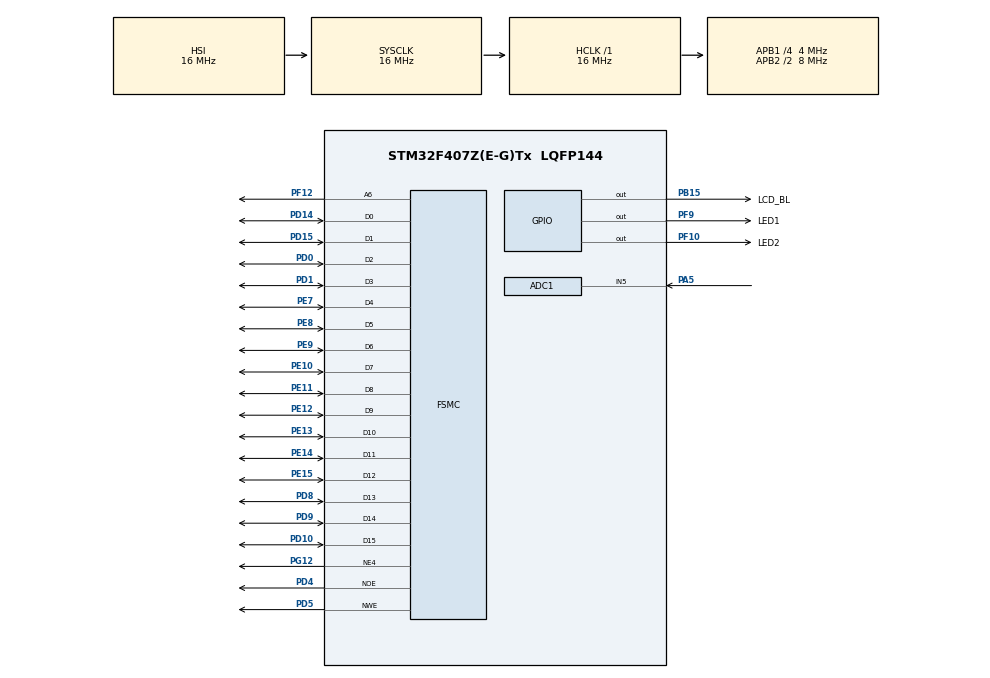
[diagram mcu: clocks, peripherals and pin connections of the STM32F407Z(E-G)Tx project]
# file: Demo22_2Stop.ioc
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ADC1.Channel-0\#ChannelRegularConversion=ADC_CHANNEL_5
ADC1.NbrOfConversionFlag=1
ADC1.Rank-0\#ChannelRegularConversion=1
ADC1.SamplingTime-0\#ChannelRegularConversion=ADC_SAMPLETIME_28CYCLES
ADC1.master=1
FSMC.AddressSetupTime4=2
FSMC.BusTurnAroundDuration4=0
FSMC.DataSetupTime4=16
FSMC.ExtendedAddressSetupTime4=4
FSMC.ExtendedBusTurnAroundDuration4=0
FSMC.ExtendedDataSetupTime4=9
FSMC.ExtendedMode4=FSMC_EXTENDED_MODE_ENABLE
Mcu.Family=STM32F4
Mcu.Name=STM32F407Z(E-G)Tx
Mcu.Package=LQFP144
NVIC.PriorityGroup=NVIC_PRIORITYGROUP_4
NVIC.RTC_WKUP_IRQn=true\:1\:0\:true\:false\:true\:true\:true\:true
PA13.Mode=Serial_Wire
PA13.Signal=SYS_JTMS-SWDIO
PA14.Mode=Serial_Wire
PA14.Signal=SYS_JTCK-SWCLK
PA5.Signal=ADCx_IN5
PB15.GPIO_Label=LCD_BL
PB15.PinState=GPIO_PIN_RESET
PB15.Signal=GPIO_Output
PC14-OSC32_IN.Mode=LSE-External-Oscillator
PC14-OSC32_IN.Signal=RCC_OSC32_IN
PC15-OSC32_OUT.Mode=LSE-External-Oscillator
PC15-OSC32_OUT.Signal=RCC_OSC32_OUT
PD0.Signal=FSMC_D2_DA2
PD1.Signal=FSMC_D3_DA3
PD10.Signal=FSMC_D15_DA15
PD14.Signal=FSMC_D0_DA0
PD15.Signal=FSMC_D1_DA1
PD4.Signal=FSMC_NOE
PD5.Signal=FSMC_NWE
PD8.Signal=FSMC_D13_DA13
PD9.Signal=FSMC_D14_DA14
PE10.Signal=FSMC_D7_DA7
PE11.Signal=FSMC_D8_DA8
PE12.Signal=FSMC_D9_DA9
PE13.Signal=FSMC_D10_DA10
PE14.Signal=FSMC_D11_DA11
PE15.Signal=FSMC_D12_DA12
PE7.Signal=FSMC_D4_DA4
PE8.Signal=FSMC_D5_DA5
PE9.Signal=FSMC_D6_DA6
PF10.GPIO_Label=LED2
PF10.PinState=GPIO_PIN_SET
PF10.Signal=GPIO_Output
PF12.Signal=FSMC_A6
PF9.GPIO_Label=LED1
PF9.PinState=GPIO_PIN_SET
PF9.Signal=GPIO_Output
PG12.Mode=NorPsramChipSelect4_4
PG12.Signal=FSMC_NE4
PH0-OSC_IN.Signal=RCC_OSC_IN
PH1-OSC_OUT.Signal=RCC_OSC_OUT
ProjectManager.HeapSize=0x200
ProjectManager.StackSize=0x400
ProjectManager.TargetToolchain=STM32CubeIDE
RCC.48MHZClocksFreq_Value=48000000
RCC.AHBFreq_Value=16000000
RCC.APB1CLKDivider=RCC_HCLK_DIV4
RCC.APB1Freq_Value=4000000
RCC.APB1TimFreq_Value=8000000
RCC.APB2CLKDivider=RCC_HCLK_DIV2
RCC.APB2Freq_Value=8000000
RCC.APB2TimFreq_Value=16000000
RCC.CortexFreq_Value=16000000
RCC.HCLKFreq_Value=16000000
RCC.HSE_VALUE=8000000
RCC.HSI_VALUE=16000000
RCC.PLLM=8
RCC.PLLN=96
RCC.RCC_RTC_Clock_Source=RCC_RTCCLKSOURCE_LSE
RCC.SYSCLKFreq_VALUE=16000000
RCC.VCOOutputFreq_Value=192000000
RTC.WakeUpClock=RTC_WAKEUPCLOCK_CK_SPRE_16BITS
RTC.WakeUpCounter=4
SH.ADCx_IN5.0=ADC1_IN5,IN5
SH.FSMC_A6.0=FSMC_A6,A6_4
SH.FSMC_D0_DA0.0=FSMC_D0,16b-d4
SH.FSMC_D10_DA10.0=FSMC_D10,16b-d4
SH.FSMC_D11_DA11.0=FSMC_D11,16b-d4
SH.FSMC_D12_DA12.0=FSMC_D12,16b-d4
SH.FSMC_D13_DA13.0=FSMC_D13,16b-d4
SH.FSMC_D14_DA14.0=FSMC_D14,16b-d4
SH.FSMC_D15_DA15.0=FSMC_D15,16b-d4
SH.FSMC_D1_DA1.0=FSMC_D1,16b-d4
SH.FSMC_D2_DA2.0=FSMC_D2,16b-d4
SH.FSMC_D3_DA3.0=FSMC_D3,16b-d4
SH.FSMC_D4_DA4.0=FSMC_D4,16b-d4
SH.FSMC_D5_DA5.0=FSMC_D5,16b-d4
SH.FSMC_D6_DA6.0=FSMC_D6,16b-d4
SH.FSMC_D7_DA7.0=FSMC_D7,16b-d4
SH.FSMC_D8_DA8.0=FSMC_D8,16b-d4
SH.FSMC_D9_DA9.0=FSMC_D9,16b-d4
SH.FSMC_NOE.0=FSMC_NOE,Lcd4
SH.FSMC_NWE.0=FSMC_NWE,Lcd4
VP_RTC_VS_RTC_Activate.Mode=RTC_Enabled
VP_RTC_VS_RTC_WakeUp_intern.Mode=WakeUp
board=custom

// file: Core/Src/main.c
/* USER CODE BEGIN Header */
/**
  ******************************************************************************
  * @file           : main.c
  * @brief          : Main program body
  ******************************************************************************
  * @attention
  *
  * Copyright (c) 2023 STMicroelectronics.
  * All rights reserved.
  *
  * This software is licensed under terms that can be found in the LICENSE file
  * in the root directory of this software component.
  * If no LICENSE file comes with this software, it is provided AS-IS.
  *
  ******************************************************************************
  */
/* USER CODE END Header */
#include "main.h"
#include "adc.h"
#include "rtc.h"
#include "gpio.h"
#include "fsmc.h"

/* USER CODE BEGIN Includes */
#include <stdio.h>
#include "lcd.h"
#include "keyled.h"
/* USER CODE END Includes */

void SystemClock_Config(void);

int main(void)
{

  /* MCU Configuration--------------------------------------------------------*/

  /* Reset of all peripherals, Initializes the Flash interface and the Systick. */
  HAL_Init();

  /* Configure the system clock */
  SystemClock_Config();

  /* Initialize all configured peripherals */
  MX_GPIO_Init();
  MX_FSMC_Init();
  MX_ADC1_Init();
  MX_RTC_Init();
  /* USER CODE BEGIN 2 */
  lcd_init();
  lcd_show_str(10, 10 + 0 * 30, 24, "Demo22_2:Stop Mode", RED);
  lcd_show_str(10, 10 + 1 * 30, 24, "Woken up by RTC every 5s", RED);

  HAL_PWREx_EnableFlashPowerDown();
//  HAL_PWREx_DisableFlashPowerDown();

  /* USER CODE END 2 */

  /* Infinite loop */
  /* USER CODE BEGIN WHILE */
  while (1)
  {
	  LED1_OFF();
	  EXTI->PR = 0;
	  HAL_PWR_EnterSTOPMode(PWR_LOWPOWERREGULATOR_ON, PWR_STOPENTRY_WFI);

	  LED1_ON();

	  HAL_ADC_Start(&hadc1);
	  if (HAL_ADC_PollForConversion(&hadc1, 200) == HAL_OK) {
		  uint32_t val = HAL_ADC_GetValue(&hadc1);
		  uint32_t Volt = 3300 * val >> 12;
		  char str[40];
		  sprintf(str, "ADC Voltage(mV): %d", Volt);
		  lcd_show_str(10, 10 + 3 * 30, 24, str, RED);
	  }
	  HAL_ADC_Stop(&hadc1);
	  HAL_Delay(500);

    /* USER CODE END WHILE */

  }
}

void SystemClock_Config(void)
{
  RCC_OscInitTypeDef RCC_OscInitStruct = {0};
  RCC_ClkInitTypeDef RCC_ClkInitStruct = {0};

  /** Configure the main internal regulator output voltage
  */
  __HAL_RCC_PWR_CLK_ENABLE();
  __HAL_PWR_VOLTAGESCALING_CONFIG(PWR_REGULATOR_VOLTAGE_SCALE1);

  /** Initializes the RCC Oscillators according to the specified parameters
  * in the RCC_OscInitTypeDef structure.
  */
  RCC_OscInitStruct.OscillatorType = RCC_OSCILLATORTYPE_HSI|RCC_OSCILLATORTYPE_LSE;
  RCC_OscInitStruct.LSEState = RCC_LSE_ON;
  RCC_OscInitStruct.HSIState = RCC_HSI_ON;
  RCC_OscInitStruct.HSICalibrationValue = RCC_HSICALIBRATION_DEFAULT;
  RCC_OscInitStruct.PLL.PLLState = RCC_PLL_NONE;
  if (HAL_RCC_OscConfig(&RCC_OscInitStruct) != HAL_OK)
  {
    Error_Handler();
  }

  /** Initializes the CPU, AHB and APB buses clocks
  */
  RCC_ClkInitStruct.ClockType = RCC_CLOCKTYPE_HCLK|RCC_CLOCKTYPE_SYSCLK
                              |RCC_CLOCKTYPE_PCLK1|RCC_CLOCKTYPE_PCLK2;
  RCC_ClkInitStruct.SYSCLKSource = RCC_SYSCLKSOURCE_HSI;
  RCC_ClkInitStruct.AHBCLKDivider = RCC_SYSCLK_DIV1;
  RCC_ClkInitStruct.APB1CLKDivider = RCC_HCLK_DIV4;
  RCC_ClkInitStruct.APB2CLKDivider = RCC_HCLK_DIV2;

  if (HAL_RCC_ClockConfig(&RCC_ClkInitStruct, FLASH_LATENCY_0) != HAL_OK)
  {
    Error_Handler();
  }
}

/* USER CODE BEGIN 4 */
void HAL_RTCEx_WakeUpTimerEventCallback(RTC_HandleTypeDef *hrtc) {
	RTC_TimeTypeDef sTime;
	RTC_DateTypeDef sDate;
	if (HAL_RTC_GetTime(hrtc, &sTime, RTC_FORMAT_BIN) == HAL_OK) {
		HAL_RTC_GetDate(hrtc, &sDate, RTC_FORMAT_BIN);
		char str[40];
		sprintf(str, "RTC current time: %02d:%02d:%02d", sTime.Hours,
				sTime.Minutes, sTime.Seconds);
		lcd_show_str(10, 10 + 2 * 30, 24, str, RED);
	}
}
/* USER CODE END 4 */

void Error_Handler(void)
{
  __disable_irq();
  while (1)
  {
  }
}
